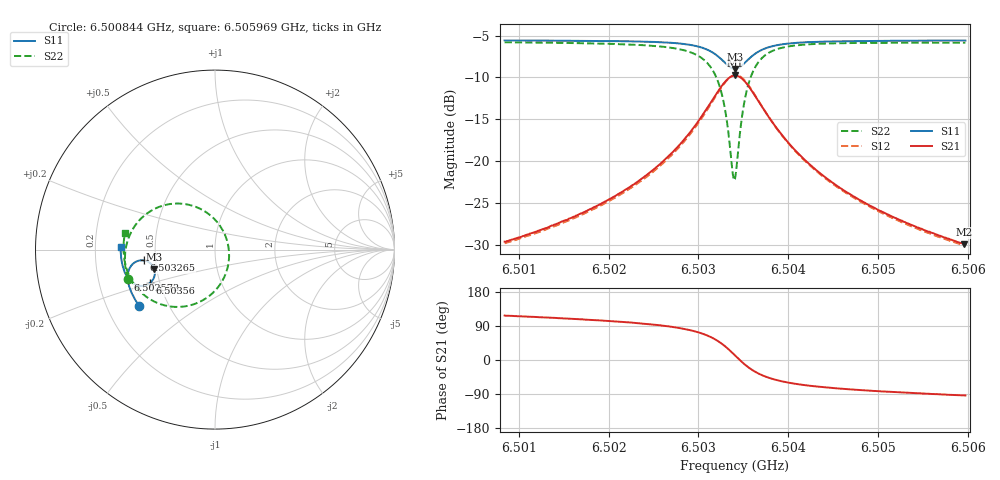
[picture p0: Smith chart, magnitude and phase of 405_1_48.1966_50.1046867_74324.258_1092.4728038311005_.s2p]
#  HZ  S  RI  R  50.00
! Rohde & Schwarz Vector Network Analyzer
! Rohde-Schwarz,ZNB20-2Port,1311601062101988,3.16
! Created: UTC 3/20/2024, 11:54:11 AM
! freq[Hz]  re:S11  im:S11  re:S21  im:S21  re:S12  im:S12  re:S22  im:S22
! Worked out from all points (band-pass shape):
!   401 points, 6.500844 GHz to 6.505969 GHz, reference 50 ohm
!   highest |S21| = -9.76 dB at 6.503406 GHz (marker M1); lowest = -29.9 dB at 6.505956 GHz (marker M2)
!   |S21| within 3 dB of the highest: 6.503151 GHz to 6.503663 GHz (512.1 kHz wide, 0.00787 % of centre)
!   lowest |S11| = -9.0 dB at 6.503406 GHz (marker M3), VSWR 2.10, Z = 24.2 - j6.03 ohm
!   |S11| at or under -10 dB: nowhere
!   |S22| runs from -22.3 to -5.8 dB; largest |S21 - S12| = 0.011
!   S11 on the Smith chart (normalised r, x): 6.500844 GHz: 0.34, -0.30; 6.502573 GHz: 0.33, -0.15; 6.503265 GHz: 0.43, -0.06; 6.50356 GHz: 0.44, -0.20; 6.505969 GHz: 0.31, +0.01
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6.5008437e9  -0.4212 -0.3156  -0.0151 0.0294  -0.0133 0.0294  -0.4865 -0.1642
6.5017022e9  -0.4589 -0.2531  -0.0146 0.0466  -0.0123 0.0462  -0.5015 -0.0747
6.5021634e9  -0.4757 -0.2131  -0.0119 0.0651  -0.00892 0.0641  -0.4995 -0.0107
6.5025606e9  -0.4856 -0.17  -0.00309 0.0947  0.000555 0.0926  -0.481 0.0662
6.5025734e9  -0.4858 -0.1683  -0.00251 0.0961  0.00107 0.0938  -0.4799 0.0693
6.5028169e9  -0.4852 -0.1332  0.0156 0.1291  0.0194 0.1253  -0.4417 0.1388
6.5029962e9  -0.4737 -0.1001  0.0498 0.1652  0.0532 0.1597  -0.374 0.2047
6.5031628e9  -0.4394 -0.0671  0.1268 0.1986  0.1281 0.1922  -0.2328 0.2557
6.5032653e9  -0.3967 -0.0601  0.2117 0.1901  0.2119 0.1848  -0.0855 0.2289
6.5033166e9  -0.3714 -0.0685  0.2598 0.1625  0.2606 0.158  -0.00521 0.1723
6.5033806e9  -0.3449 -0.0945  0.3076 0.0999  0.3099 0.0949  0.0666 0.0517
6.5034062e9  -0.3385 -0.1088  0.3179 0.0681  0.3208 0.0624  0.0778 -0.00756
6.5034959e9  -0.3422 -0.161  0.3043 -0.0425  0.3063 -0.0521  0.0227 -0.2022
6.50356e9  -0.363 -0.1869  0.2622 -0.0964  0.2612 -0.1074  -0.0724 -0.2847
6.5036625e9  -0.4022 -0.202  0.1883 -0.1326  0.1833 -0.1418  -0.2207 -0.3192
6.5038291e9  -0.448 -0.1924  0.1076 -0.13  0.1008 -0.1348  -0.3665 -0.2738
6.5040084e9  -0.4753 -0.171  0.0634 -0.1101  0.0574 -0.1125  -0.4382 -0.2098
6.5042647e9  -0.496 -0.1412  0.0339 -0.0865  0.0291 -0.0868  -0.4812 -0.1381
6.5046491e9  -0.5115 -0.1014  0.0149 -0.0634  0.0117 -0.0632  -0.5037 -0.0635
6.5051231e9  -0.521 -0.0579  0.00512 -0.0472  0.00281 -0.0465  -0.5098 0.00218
6.5059559e9  -0.5258 0.0123  -0.00195 -0.0318  -0.00324 -0.0311  -0.5019 0.0893
6.5059687e9  -0.5258 0.0133  -0.00199 -0.0318  -0.00335 -0.0309  -0.5018 0.0905
